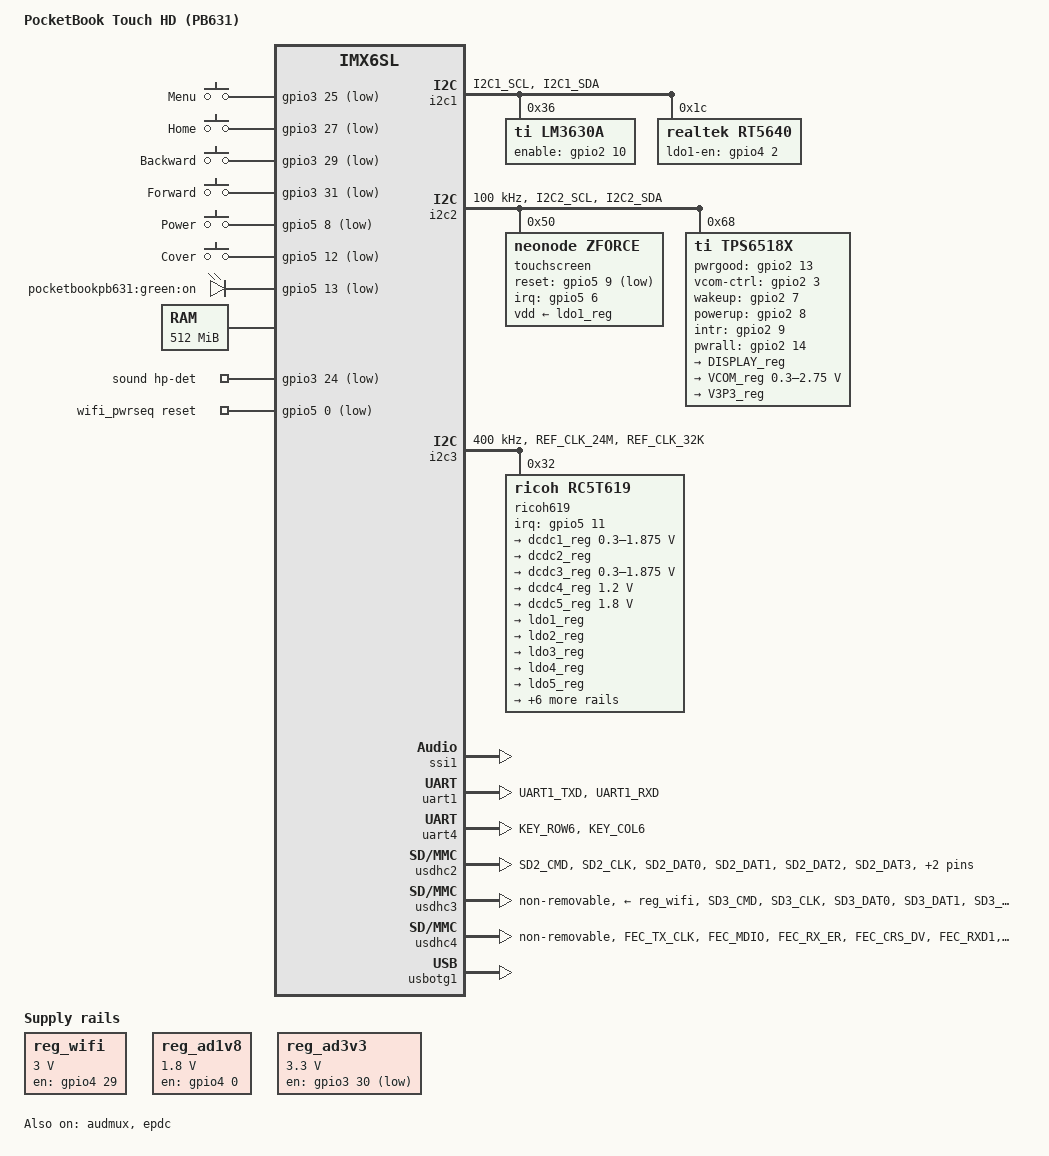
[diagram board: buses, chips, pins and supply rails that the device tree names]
// SPDX-License-Identifier: GPL-2.0
/*
 * Device tree for the Pocketbook Touch HD ebook reader
 *
 * Name on mainboard is: 37NB-E60QK0+4A2
 * Serials start with: 60QK2
 *
 */

/dts-v1/;

#include <dt-bindings/leds/common.h>
#include <dt-bindings/input/input.h>
#include <dt-bindings/gpio/gpio.h>
#include "imx6sl.dtsi"

/ {
	model = "PocketBook Touch HD (PB631)";
	compatible = "pocketbook,pb631", "fsl,imx6sl";

	aliases {
		mmc0 = &usdhc4;
		mmc1 = &usdhc2;
	};

	chosen {
		stdout-path = &uart1;
	};

	reserved-memory {
		#address-cells = <1>;
		#size-cells = <1>;
		ramoops@90000000 {
			compatible = "ramoops";
			reg = <0x90000000 0x00100000>;
			record-size = <0x1000>;
			console-size = <0x80000>;
			ftrace-size = <0x1000>;
			pmsg-size = <0x8000>;
		};
	};

	gpio_keys: gpio-keys {
		compatible = "gpio-keys";
		pinctrl-names = "default";
		pinctrl-0 = <&pinctrl_gpio_keys>;

		key-menu {
			label = "Menu";
			gpios = <&gpio3 25 GPIO_ACTIVE_LOW>;
			linux,code = <KEY_MENU>;
			wakeup-source;
		};

		key-home {
			label = "Home";
			gpios = <&gpio3 27 GPIO_ACTIVE_LOW>;
			linux,code = <KEY_HOME>;
			wakeup-source;
		};

		key-backward {
			label = "Backward";
			gpios = <&gpio3 29 GPIO_ACTIVE_LOW>;
			linux,code = <KEY_PAGEUP>;
			wakeup-source;
		};

		key-forward {
			label = "Forward";
			gpios = <&gpio3 31 GPIO_ACTIVE_LOW>;
			linux,code = <KEY_PAGEDOWN>;
			wakeup-source;
		};

		key-power {
			label = "Power";
			gpios = <&gpio5 8 GPIO_ACTIVE_LOW>;
			linux,code = <KEY_POWER>;
			wakeup-source;
		};

		key-cover {
			label = "Cover";
			gpios = <&gpio5 12 GPIO_ACTIVE_LOW>;
			linux,code = <SW_LID>;
			linux,input-type = <EV_SW>;
			wakeup-source;
		};
	};

	leds: leds {
		compatible = "gpio-leds";
		pinctrl-names = "default";
		pinctrl-0 = <&pinctrl_leds>;

		on {
			label = "pocketbookpb631:green:on";
			gpios = <&gpio5 13 GPIO_ACTIVE_LOW>;
			linux,default-trigger = "timer";
		};
	};

	memory@80000000 {
		device_type = "memory";
		reg = <0x80000000 0x20000000>;
	};

	reg_wifi: regulator-wifi {
		compatible = "regulator-fixed";
		pinctrl-names = "default";
		pinctrl-0 = <&pinctrl_wifi_power>;
		regulator-name = "SD3_SPWR";
		regulator-min-microvolt = <3000000>;
		regulator-max-microvolt = <3000000>;
		enable-active-high;
		gpio = <&gpio4 29 GPIO_ACTIVE_HIGH>;
	};
/*
	reg_adldo: regulator-adldo {
		compatible = "regulator-fixed";
		pinctrl-names = "default";
		pinctrl-0 = <&pinctrl_codecldo_power>;
		regulator-name = "AD_LDO_ON";
		regulator-min-microvolt = <1800000>;
		regulator-max-microvolt = <1800000>;
		regulator-always-on;
		regulator-boot-on;
		gpio = <&gpio4 2 GPIO_ACTIVE_HIGH>;
	};
*/
	reg_ad1v8: regulator-ad1v8 {
		compatible = "regulator-fixed";
		pinctrl-names = "default";
		pinctrl-0 = <&pinctrl_codec1v8_power>;
		regulator-name = "AD_1V8_ON";
		regulator-min-microvolt = <1800000>;
		regulator-max-microvolt = <1800000>;
		regulator-always-on;
		regulator-boot-on;
		enable-active-high;
		gpio = <&gpio4 0 GPIO_ACTIVE_HIGH>;
	};

	reg_ad3v3: regulator-ad3v3 {
		compatible = "regulator-fixed";
		pinctrl-names = "default";
		pinctrl-0 = <&pinctrl_codec3v3_power>;
		regulator-name = "AD_3V3_ON";
		regulator-min-microvolt = <3300000>;
		regulator-max-microvolt = <3300000>;
		regulator-always-on;
		regulator-boot-on;
		gpio = <&gpio3 30 GPIO_ACTIVE_LOW>;
	};

	sound {
		compatible = "fsl,imx-audio-rt5640";
		pinctrl-names = "default";
		pinctrl-0 = <&pinctrl_hp>;
		model = "imx-rt5640";
		ssi-controller = <&ssi1>; //ssi2?
		audio-codec = <&rt5640>;
		audio-routing =
			/* board Headphone Jack */
			"Headphone Jack", "HPOR",
			"Headphone Jack", "HPOL";
		mux-int-port = <2>;
		mux-ext-port = <3>;
		hp-det-gpios = <&gpio3 24 GPIO_ACTIVE_LOW>;
	};

	thermal-zones {
		epd-thermal {
			polling-delay = <10000>;
			polling-delay-passive = <10000>;
			thermal-sensors = <&tps6518x>;

			trips {
			};
		};
	};

	wifi_pwrseq: wifi_pwrseq {
		compatible = "mmc-pwrseq-simple";
		pinctrl-names = "default";
		pinctrl-0 = <&pinctrl_wifi_reset>;
		post-power-on-delay-ms = <20>;
		reset-gpios = <&gpio5 0 GPIO_ACTIVE_LOW>;
	};
};

&audmux {
	pinctrl-names = "default";
	pinctrl-0 = <&pinctrl_audmux3>;
	status = "okay";
};

&gpu_2d {
	status = "disabled";
};

&gpu_vg {
	status = "disabled";
};

&epdc {
	pinctrl-names = "default";
	pinctrl-0 = <&pinctrl_epdc0>;
	safe-ticks-turnoff-ep3v3=<800>;
	V3P3-supply = <&V3P3_reg>;
	VCOM-supply = <&VCOM_reg>;
	DISPLAY-supply = <&DISPLAY_reg>;
	epd-thermal-zone = "epd-thermal";

	vscan-holdoff = <4>;
	sdoed-width = <10>;
	sdoed-delay = <20>;
	sdoez-width = <10>;
	sdoez-delay = <20>;
	gdclk-hp-offs = <562>;
	gdsp-offs = <662>;
	gdoe-offs = <0>;
	gdclk-offs = <225>;
	num-ce = <1>;

	status = "okay";

	timing {
		clock-frequency = <80000000>;
		hactive = <1448>;
		hback-porch = <16>;
		hfront-porch = <102>;
		hsync-len = <28>;
		vactive = <1072>;
		vback-porch = <4>;
		vfront-porch = <4>;
		vsync-len = <2>;
	};
};

&i2c1 {
	pinctrl-names = "default","sleep";
	pinctrl-0 = <&pinctrl_i2c1>;
	pinctrl-1 = <&pinctrl_i2c1_sleep>;
	i2c-scl-rising-time-ns = <300>;
	i2c-scl-falling-time-ns = <15>;
	status = "okay";

	lm3630a: backlight@36 {
		reg = <0x36>;
		compatible = "ti,lm3630a";
		enable-gpios = <&gpio2 10 GPIO_ACTIVE_HIGH>;
		pinctrl-names = "default";
		pinctrl-0 = <&pinctrl_backlight_power>;

		#address-cells = <1>;
		#size-cells = <0>;
		status = "okay";
		led@0 {
			reg = <0>;
			led-sources = <0>;
			label = "backlight";
			default-brightness = <127>;
			max-brightness = <255>;
		};
	};

	rt5640: rt5640@1c {
		compatible = "realtek,rt5640";
		reg = <0x1c>;
		/*interrupt-parent = <&gpio3>;
		interrupts = <24 IRQ_TYPE_LEVEL_LOW>;*/
		realtek,ldo1-en-gpios =
			<&gpio4 2 GPIO_ACTIVE_HIGH>;
		/*realtek,jack-detect-source = <1>;*/
		clocks = <&clks IMX6SL_CLK_EXTERN_AUDIO>;
	};
};

&i2c2 {
	pinctrl-names = "default","sleep";
	pinctrl-0 = <&pinctrl_i2c2>;
	pinctrl-1 = <&pinctrl_i2c2_sleep>;
	clock-frequency = <100000>;
	status = "okay";

	touchscreen@50 {
		compatible = "neonode,zforce";
		reg = <0x50>;
		pinctrl-names = "default";
		pinctrl-0 = <&pinctrl_ts>;
		reset-gpios = <&gpio5 9 GPIO_ACTIVE_LOW>;
		interrupts-extended = <&gpio5 6 IRQ_TYPE_LEVEL_LOW>;
		vdd-supply = <&ldo1_reg>;
		touchscreen-min-x = <0>;
		touchscreen-size-x = <1072>;
		touchscreen-min-y = <0>;
		touchscreen-size-y = <1448>;
		touchscreen-swapped-x-y;
		touchscreen-inverted-x;
		status = "okay";
	};

	tps6518x: epdc-pmic@68 {
		compatible = "ti,tps6518x";
		reg = <0x68>;
		/*
		 * power sequencing for TPS65180/65181
		 */
		pwr_seq0 = <0xe1>; /* [Vddh-seq=3 | Vpos-seq=2 | Vee-seq=0 | Vneg-seq=1] */
		pwr_seq1 = <0x30>; /* [Vneg-dly1=3 |Vee-dly0=0]  mSec */
		pwr_seq2 = <0x33>; /* [Vddh-dly3=3 | Vpos-dly2=3] mSec */

                /*
                 * power sequencing for TPS65185/65186
                 */
                upseq0 = <0xe1>;
                upseq1 = <0x00>;
                dwnseq0 = <0x1e>;
                dwnseq1 = <0xe0>;

		pwrgood-gpios = <&gpio2 13 0>;
		vcom-ctrl-gpios = <&gpio2 3 GPIO_ACTIVE_HIGH>;
		wakeup-gpios = <&gpio2 7 0>;
		powerup-gpios = <&gpio2 8 GPIO_ACTIVE_HIGH>;
		intr-gpios = <&gpio2 9 0>;

		/* gpio_pmic_v3p3 = <&gpio2 14 GPIO_ACTIVE_HIGH>; */
		pwrall-gpios = <&gpio2 14 GPIO_ACTIVE_HIGH>;

		#thermal-sensor-cells = <0>;

		pinctrl-names = "default", "sleep";
		pinctrl-0 = <&pinctrl_tps65185_gpio>;
		pinctrl-1 = <&pinctrl_tps65185_gpio_sleep>;

		regulators {
			DISPLAY_reg: DISPLAY {
				regulator-name = "DISPLAY";
			};

			VCOM_reg: VCOM {
				regulator-name = "VCOM";
				regulator-max-microvolt = <2750000>;
				regulator-min-microvolt = <300000>;
			};

			V3P3_reg: V3P3 {
				regulator-name = "V3P3";
			};

		};
	};
};

&i2c3 {
	pinctrl-names = "default";
	pinctrl-0 = <&pinctrl_i2c3>;
	clock-frequency = <400000>;
	status = "okay";

	ricoh619: pmic@32 {
		compatible = "ricoh,rc5t619";
		pinctrl-names = "default";
		pinctrl-0 = <&pinctrl_ricoh_gpio>;
		reg = <0x32>;
		interrupt-parent = <&gpio5>;
		interrupts = <11 IRQ_TYPE_LEVEL_LOW>;
		system-power-controller;

		regulators {
			dcdc1_reg: DCDC1 {
				regulator-name = "DCDC1";
				regulator-min-microvolt = <300000>;
				regulator-max-microvolt = <1875000>;
				regulator-always-on;
				regulator-boot-on;

				regulator-state-mem {
					regulator-on-in-suspend;
					regulator-suspend-max-microvolt = <900000>;
					regulator-suspend-min-microvolt = <900000>;
				};
			};

			/* Core3_3V3 */
			dcdc2_reg: DCDC2 {
				regulator-name = "DCDC2";
				regulator-always-on;
				regulator-boot-on;

				regulator-state-mem {
					regulator-on-in-suspend;
					regulator-suspend-max-microvolt = <3300000>;
					regulator-suspend-min-microvolt = <3300000>;
				};
			};

			dcdc3_reg: DCDC3 {
				regulator-name = "DCDC3";
				regulator-min-microvolt = <300000>;
				regulator-max-microvolt = <1875000>;
				regulator-always-on;
				regulator-boot-on;

				regulator-state-mem {
					regulator-on-in-suspend;
					regulator-suspend-max-microvolt = <1140000>;
					regulator-suspend-min-microvolt = <1140000>;
				};
			};

			/* Core4_1V2 */
			dcdc4_reg: DCDC4 {
				regulator-name = "DCDC4";
				regulator-min-microvolt = <1200000>;
				regulator-max-microvolt = <1200000>;
				regulator-always-on;
				regulator-boot-on;

				regulator-state-mem {
					regulator-on-in-suspend;
					regulator-suspend-max-microvolt = <1140000>;
					regulator-suspend-min-microvolt = <1140000>;
				};
			};

			/* Core4_1V8 */
			dcdc5_reg: DCDC5 {
				regulator-name = "DCDC5";
				regulator-min-microvolt = <1800000>;
				regulator-max-microvolt = <1800000>;
				regulator-always-on;
				regulator-boot-on;

				regulator-state-mem {
					regulator-on-in-suspend;
					regulator-suspend-max-microvolt = <1700000>;
					regulator-suspend-min-microvolt = <1700000>;
				};
			};

			/* IR_3V3 */
			ldo1_reg: LDO1  {
				regulator-name = "LDO1";
				regulator-always-on;
				regulator-boot-on;
			};

			/* Core1_3V3 */
			ldo2_reg: LDO2  {
				regulator-name = "LDO2";
				regulator-always-on;
				regulator-boot-on;

				regulator-state-mem {
					regulator-on-in-suspend;
					regulator-suspend-max-microvolt = <3300000>;
					regulator-suspend-min-microvolt = <3300000>;
				};
			};

			/* Core5_1V2 */
			ldo3_reg: LDO3  {
				regulator-name = "LDO3";
				regulator-always-on;
				regulator-boot-on;
			};

			ldo4_reg: LDO4 {
				regulator-name = "LDO4";
				regulator-boot-on;
			};

			/* SPD_3V3 */
			ldo5_reg: LDO5 {
				regulator-name = "LDO5";
				regulator-always-on;
				regulator-boot-on;
			};

			/* DDR_0V6 */
			ldo6_reg: LDO6 {
				regulator-name = "LDO6";
				regulator-always-on;
				regulator-boot-on;
			};

			/* VDD_PWM */
			ldo7_reg: LDO7 {
				regulator-name = "LDO7";
				regulator-always-on;
				regulator-boot-on;
			};

			/* ldo_1v8 */
			ldo8_reg: LDO8 {
				regulator-name = "LDO8";
				regulator-min-microvolt = <1800000>;
				regulator-max-microvolt = <1800000>;
			};

			ldo9_reg: LDO9 {
				regulator-name = "LDO9";
				regulator-boot-on;
			};

			ldo10_reg: LDO10 {
				regulator-name = "LDO10";
				regulator-boot-on;
			};

			ldortc1_reg: LDORTC1  {
				regulator-name = "LDORTC1";
				regulator-always-on;
				regulator-boot-on;
			};
		};
	};
};

&reg_vdd1p1 {
	vin-supply = <&dcdc2_reg>;
};

&reg_vdd2p5 {
	vin-supply = <&dcdc2_reg>;
};

&reg_arm {
	vin-supply = <&dcdc3_reg>;
};

&reg_soc {
	vin-supply = <&dcdc1_reg>;
};

&reg_pu {
	vin-supply = <&dcdc1_reg>;
};

&ssi1 {
	status = "okay";
};

&snvs_rtc {
	/*
	 * We are using the RTC in the PMIC, but this one is not disabled
	 * in imx6sl.dtsi.
	 */
	status = "disabled";
};

&uart1 {
	/* J4 */
	pinctrl-names = "default";
	pinctrl-0 = <&pinctrl_uart1>;
	status = "okay";
};

&uart4 {
	/* J9 */
	pinctrl-names = "default";
	pinctrl-0 = <&pinctrl_uart4>;
	status = "okay";
};

&usdhc2 {
	pinctrl-names = "default", "state_100mhz", "state_200mhz", "sleep";
	pinctrl-0 = <&pinctrl_usdhc2>;
	pinctrl-1 = <&pinctrl_usdhc2_100mhz>;
	pinctrl-2 = <&pinctrl_usdhc2_200mhz>;
	pinctrl-3 = <&pinctrl_usdhc2_sleep>;
	status = "okay";

	cd-gpios = <&gpio5 2 GPIO_ACTIVE_LOW>;

	/* external uSD card */
};

&usdhc3 {
	pinctrl-names = "default", "state_100mhz", "state_200mhz", "sleep";
	pinctrl-0 = <&pinctrl_usdhc3>;
	pinctrl-1 = <&pinctrl_usdhc3_100mhz>;
	pinctrl-2 = <&pinctrl_usdhc3_200mhz>;
	pinctrl-3 = <&pinctrl_usdhc3_sleep>;
	vmmc-supply = <&reg_wifi>;
	mmc-pwrseq = <&wifi_pwrseq>;
	cap-power-off-card;
	non-removable;
	status = "okay";

	/* Realtek RTL8189FTV SDIO WiFi */
};

&usdhc4 {
	pinctrl-names = "default", "state_100mhz", "state_200mhz", "sleep";
	pinctrl-0 = <&pinctrl_usdhc4>;
	pinctrl-1 = <&pinctrl_usdhc4_100mhz>;
	pinctrl-2 = <&pinctrl_usdhc4_200mhz>;
	pinctrl-3 = <&pinctrl_usdhc4_sleep>;
	status = "okay";
	non-removable;

	/* internal uSD card */
};

&usbotg1 {
	pinctrl-names = "default";
	disable-over-current;
	srp-disable;
	hnp-disable;
	adp-disable;
	status = "okay";
};

&iomuxc {
	pinctrl_audmux3: audmux3grp {
		fsl,pins = <
			MX6SL_PAD_AUD_MCLK__AUDIO_CLK_OUT 0x4130b0
			MX6SL_PAD_AUD_RXD__AUD3_RXD	  0x4130b0
			MX6SL_PAD_AUD_TXC__AUD3_TXC	  0x4130b0
			MX6SL_PAD_AUD_TXD__AUD3_TXD	  0x4110b0
			MX6SL_PAD_AUD_TXFS__AUD3_TXFS	  0x4130b0
		>;
	};

	pinctrl_backlight_power: backlight-powergrp {
		fsl,pins = <
			MX6SL_PAD_EPDC_PWRCTRL3__GPIO2_IO10 0x110B0
		>;
	};
/*
	pinctrl_codecldo_power: codec-powergrp {
		fsl,pins = <
			MX6SL_PAD_KEY_COL5__GPIO4_IO02 0x110B0
		>;
	};
*/
	pinctrl_codec1v8_power: codec1v8-powergrp {
		fsl,pins = <
			MX6SL_PAD_KEY_COL4__GPIO4_IO00 0x110B0
		>;
	};

	pinctrl_codec3v3_power: codec3v3-powergrp {
		fsl,pins = <
			MX6SL_PAD_KEY_COL3__GPIO3_IO30 0x110B0
		>;
	};

	pinctrl_epdc0: epdcgrp0 {
		fsl,pins = <
			MX6SL_PAD_EPDC_D0__EPDC_DATA00     0x4100b1
			MX6SL_PAD_EPDC_D1__EPDC_DATA01     0x4100b1
			MX6SL_PAD_EPDC_D2__EPDC_DATA02     0x4100b1
			MX6SL_PAD_EPDC_D3__EPDC_DATA03     0x4100b1
			MX6SL_PAD_EPDC_D4__EPDC_DATA04     0x4100b1
			MX6SL_PAD_EPDC_D5__EPDC_DATA05     0x4100b1
			MX6SL_PAD_EPDC_D6__EPDC_DATA06     0x4100b1
			MX6SL_PAD_EPDC_D7__EPDC_DATA07     0x4100b1
			MX6SL_PAD_EPDC_D8__EPDC_DATA08     0x4100b1
			MX6SL_PAD_EPDC_D9__EPDC_DATA09     0x4100b1
			MX6SL_PAD_EPDC_D10__EPDC_DATA10     0x4100b1
			MX6SL_PAD_EPDC_D11__EPDC_DATA11     0x4100b1
			MX6SL_PAD_EPDC_D12__EPDC_DATA12     0x4100b1
			MX6SL_PAD_EPDC_D13__EPDC_DATA13     0x4100b1
			MX6SL_PAD_EPDC_D14__EPDC_DATA14     0x4100b1
			MX6SL_PAD_EPDC_D15__EPDC_DATA15     0x4100b1
			MX6SL_PAD_EPDC_SDCLK__EPDC_SDCLK_P     0x4100b1
			MX6SL_PAD_EPDC_SDLE__EPDC_SDLE  0x4100b1
			MX6SL_PAD_EPDC_SDOE__EPDC_SDOE  0x4100b1
			MX6SL_PAD_EPDC_SDSHR__EPDC_SDSHR       0x4100b1
			MX6SL_PAD_EPDC_SDCE0__EPDC_SDCE0       0x4100b1
			MX6SL_PAD_EPDC_GDCLK__EPDC_GDCLK       0x4100b1
			MX6SL_PAD_EPDC_GDOE__EPDC_GDOE  0x4100b1
			MX6SL_PAD_EPDC_GDRL__EPDC_GDRL  0x4100b1
			MX6SL_PAD_EPDC_GDSP__EPDC_GDSP  0x4100b1
	       >;
	};

	pinctrl_gpio_keys: gpio-keysgrp {
		fsl,pins = <
			MX6SL_PAD_SD1_DAT1__GPIO5_IO08  0x110B0
			MX6SL_PAD_SD1_DAT4__GPIO5_IO12  0x110B0
			MX6SL_PAD_KEY_ROW0__GPIO3_IO25  0x11030
			MX6SL_PAD_KEY_ROW1__GPIO3_IO27	0x11030
			MX6SL_PAD_KEY_ROW2__GPIO3_IO29	0x11030
			MX6SL_PAD_KEY_ROW3__GPIO3_IO31	0x11030
		>;
	};

	pinctrl_hp: hpgrp {
		fsl,pins = <
			MX6SL_PAD_KEY_COL0__GPIO3_IO24	  0x1b0b0
		>;
	};

	pinctrl_i2c1: i2c1grp {
		fsl,pins = <
			MX6SL_PAD_I2C1_SCL__I2C1_SCL	 0x4001f8b1
			MX6SL_PAD_I2C1_SDA__I2C1_SDA	 0x4001f8b1
		>;
	};

	pinctrl_i2c1_sleep: i2c1-sleepgrp {
		fsl,pins = <
			MX6SL_PAD_I2C1_SCL__I2C1_SCL	 0x400108b1
			MX6SL_PAD_I2C1_SDA__I2C1_SDA	 0x400108b1
		>;
	};

	pinctrl_i2c2: i2c2grp {
		fsl,pins = <
			MX6SL_PAD_I2C2_SCL__I2C2_SCL	 0x4001f8b1
			MX6SL_PAD_I2C2_SDA__I2C2_SDA	 0x4001f8b1
		>;
	};

	pinctrl_i2c2_sleep: i2c2-sleepgrp {
		fsl,pins = <
			MX6SL_PAD_I2C2_SCL__I2C2_SCL	 0x400108b1
			MX6SL_PAD_I2C2_SDA__I2C2_SDA	 0x400108b1
		>;
	};

	pinctrl_i2c3: i2c3grp {
		fsl,pins = <
			MX6SL_PAD_REF_CLK_24M__I2C3_SCL  0x4001f8b1
			MX6SL_PAD_REF_CLK_32K__I2C3_SDA  0x4001f8b1
		>;
	};

	pinctrl_leds: ledsgrp {
		fsl,pins = <
			MX6SL_PAD_SD1_DAT2__GPIO5_IO13	0x17059
		>;
	};

	pinctrl_tps65185_gpio: tps65185-gpio-grp {
		fsl,pins = <
			MX6SL_PAD_EPDC_PWRWAKEUP__GPIO2_IO14        0x40010059 /* EP_PWRALL */
			MX6SL_PAD_EPDC_VCOM0__GPIO2_IO03            0x40010059 /* VCOM_CTRL0 */
			MX6SL_PAD_EPDC_PWRCTRL0__GPIO2_IO07            0x40010059 /* EP_PWRCTRL0 WAKEUP */
			MX6SL_PAD_EPDC_PWRCTRL1__GPIO2_IO08            0x40010059 /* EP_PWRCTRL1 PWRUP */
			MX6SL_PAD_EPDC_PWRCTRL2__GPIO2_IO09      0x17059 /* EP_PWRCTRL2 EP_INT */
			MX6SL_PAD_EPDC_PWRSTAT__GPIO2_IO13        0x17059 /* EP_PWRSTAT */
		>;
	};

	pinctrl_tps65185_gpio_sleep: tps65185-gpio-sleep-grp {
		fsl,pins = <
			MX6SL_PAD_EPDC_PWRWAKEUP__GPIO2_IO14        0x10059 /* EP_PWRALL */
			MX6SL_PAD_EPDC_VCOM0__GPIO2_IO03                      0x10059 /* VCOM_CTRL0 */
			MX6SL_PAD_EPDC_PWRCTRL0__GPIO2_IO07      0x10059 /* EP_PWRCTRL0 WAKEUP */
			MX6SL_PAD_EPDC_PWRCTRL1__GPIO2_IO08      0x10059 /* EP_PWRCTRL1 PWRUP */
			MX6SL_PAD_EPDC_PWRCTRL2__GPIO2_IO09      0x13059 /* EP_PWRCTRL2 EP_INT */
			MX6SL_PAD_EPDC_PWRSTAT__GPIO2_IO13        0x13059 /* EP_PWRSTAT */
		>;
	};

	pinctrl_ts: tsgrp {
		fsl,pins = <
			MX6SL_PAD_SD1_DAT3__GPIO5_IO06	0x1B0B1
			MX6SL_PAD_SD1_DAT5__GPIO5_IO09	0x110B0
		>;
	};

	pinctrl_ricoh_gpio: ricoh_gpiogrp {
		fsl,pins = <
			MX6SL_PAD_SD1_CLK__GPIO5_IO15	0x1b8b1 /* ricoh619 chg */
			MX6SL_PAD_SD1_DAT0__GPIO5_IO11	0x1b8b1 /* ricoh619 irq */
			MX6SL_PAD_KEY_COL2__GPIO3_IO28	0x1b8b1 /* ricoh619 bat_low_int */
		>;
	};

	pinctrl_uart1: uart1grp {
		fsl,pins = <
			MX6SL_PAD_UART1_TXD__UART1_TX_DATA 0x1b0b1
			MX6SL_PAD_UART1_RXD__UART1_RX_DATA 0x1b0b1
		>;
	};

	pinctrl_uart4: uart4grp {
		fsl,pins = <
			MX6SL_PAD_KEY_ROW6__UART4_TX_DATA 0x1b0b1
			MX6SL_PAD_KEY_COL6__UART4_RX_DATA 0x1b0b1
		>;
	};

	pinctrl_usbotg1: usbotg1grp {
		fsl,pins = <
			MX6SL_PAD_EPDC_PWRCOM__USB_OTG1_ID 0x17059
		>;
	};

	pinctrl_usdhc2: usdhc2grp {
		fsl,pins = <
			MX6SL_PAD_SD2_CMD__SD2_CMD		0x17059
			MX6SL_PAD_SD2_CLK__SD2_CLK		0x13059
			MX6SL_PAD_SD2_DAT0__SD2_DATA0		0x17059
			MX6SL_PAD_SD2_DAT1__SD2_DATA1		0x17059
			MX6SL_PAD_SD2_DAT2__SD2_DATA2		0x17059
			MX6SL_PAD_SD2_DAT3__SD2_DATA3		0x17059
			MX6SL_PAD_SD2_DAT4__GPIO5_IO02		0x1b0b1
		>;
	};

	pinctrl_usdhc2_100mhz: usdhc2-100mhzgrp {
		fsl,pins = <
			MX6SL_PAD_SD2_CMD__SD2_CMD		0x170b9
			MX6SL_PAD_SD2_CLK__SD2_CLK		0x130b9
			MX6SL_PAD_SD2_DAT0__SD2_DATA0		0x170b9
			MX6SL_PAD_SD2_DAT1__SD2_DATA1		0x170b9
			MX6SL_PAD_SD2_DAT2__SD2_DATA2		0x170b9
			MX6SL_PAD_SD2_DAT3__SD2_DATA3		0x170b9
		>;
	};

	pinctrl_usdhc2_200mhz: usdhc2-200mhzgrp {
		fsl,pins = <
			MX6SL_PAD_SD2_CMD__SD2_CMD		0x170f9
			MX6SL_PAD_SD2_CLK__SD2_CLK		0x130f9
			MX6SL_PAD_SD2_DAT0__SD2_DATA0		0x170f9
			MX6SL_PAD_SD2_DAT1__SD2_DATA1		0x170f9
			MX6SL_PAD_SD2_DAT2__SD2_DATA2		0x170f9
			MX6SL_PAD_SD2_DAT3__SD2_DATA3		0x170f9
		>;
	};

	pinctrl_usdhc2_sleep: usdhc2-sleepgrp {
		fsl,pins = <
			MX6SL_PAD_SD2_CMD__GPIO5_IO04		0x100f9
			MX6SL_PAD_SD2_CLK__GPIO5_IO05		0x100f9
			MX6SL_PAD_SD2_DAT0__GPIO5_IO01		0x100f9
			MX6SL_PAD_SD2_DAT1__GPIO4_IO30		0x100f9
			MX6SL_PAD_SD2_DAT2__GPIO5_IO03		0x100f9
			MX6SL_PAD_SD2_DAT3__GPIO4_IO28		0x100f9
		>;
	};

	pinctrl_usdhc3: usdhc3grp {
		fsl,pins = <
			MX6SL_PAD_SD3_CMD__SD3_CMD	0x11059
			MX6SL_PAD_SD3_CLK__SD3_CLK	0x11059
			MX6SL_PAD_SD3_DAT0__SD3_DATA0	0x11059
			MX6SL_PAD_SD3_DAT1__SD3_DATA1	0x11059
			MX6SL_PAD_SD3_DAT2__SD3_DATA2	0x11059
			MX6SL_PAD_SD3_DAT3__SD3_DATA3	0x11059
		>;
	};

	pinctrl_usdhc3_100mhz: usdhc3-100mhzgrp {
		fsl,pins = <
			MX6SL_PAD_SD3_CMD__SD3_CMD	0x170b9
			MX6SL_PAD_SD3_CLK__SD3_CLK	0x170b9
			MX6SL_PAD_SD3_DAT0__SD3_DATA0	0x170b9
			MX6SL_PAD_SD3_DAT1__SD3_DATA1	0x170b9
			MX6SL_PAD_SD3_DAT2__SD3_DATA2	0x170b9
			MX6SL_PAD_SD3_DAT3__SD3_DATA3	0x170b9
		>;
	};

	pinctrl_usdhc3_200mhz: usdhc3-200mhzgrp {
		fsl,pins = <
			MX6SL_PAD_SD3_CMD__SD3_CMD	0x170f9
			MX6SL_PAD_SD3_CLK__SD3_CLK	0x170f9
			MX6SL_PAD_SD3_DAT0__SD3_DATA0	0x170f9
			MX6SL_PAD_SD3_DAT1__SD3_DATA1	0x170f9
			MX6SL_PAD_SD3_DAT2__SD3_DATA2	0x170f9
			MX6SL_PAD_SD3_DAT3__SD3_DATA3	0x170f9
		>;
	};

	pinctrl_usdhc3_sleep: usdhc3-sleepgrp {
		fsl,pins = <
			MX6SL_PAD_SD3_CMD__GPIO5_IO21	0x100c1
			MX6SL_PAD_SD3_CLK__GPIO5_IO18	0x100c1
			MX6SL_PAD_SD3_DAT0__GPIO5_IO19	0x100c1
			MX6SL_PAD_SD3_DAT1__GPIO5_IO20	0x100c1
			MX6SL_PAD_SD3_DAT2__GPIO5_IO16	0x100c1
			MX6SL_PAD_SD3_DAT3__GPIO5_IO17	0x100c1
		>;
	};

	pinctrl_usdhc4: usdhc4grp {
		fsl,pins = <
			MX6SL_PAD_FEC_TX_CLK__SD4_CMD		0x17059
			MX6SL_PAD_FEC_MDIO__SD4_CLK		0x13059
			MX6SL_PAD_FEC_RX_ER__SD4_DATA0		0x17059
			MX6SL_PAD_FEC_CRS_DV__SD4_DATA1		0x17059
			MX6SL_PAD_FEC_RXD1__SD4_DATA2		0x17059
			MX6SL_PAD_FEC_TXD0__SD4_DATA3		0x17059
			MX6SL_PAD_FEC_MDC__SD4_DATA4		0x17059
			MX6SL_PAD_FEC_RXD0__SD4_DATA5		0x17059
			MX6SL_PAD_FEC_TX_EN__SD4_DATA6		0x17059
			MX6SL_PAD_FEC_TXD1__SD4_DATA7		0x17059
			MX6SL_PAD_FEC_REF_CLK__SD4_RESET	0x17068
		>;
	};

	pinctrl_usdhc4_100mhz: usdhc4-100mhzgrp {
		fsl,pins = <
			MX6SL_PAD_FEC_TX_CLK__SD4_CMD		0x170b9
			MX6SL_PAD_FEC_MDIO__SD4_CLK		0x130b9
			MX6SL_PAD_FEC_RX_ER__SD4_DATA0		0x170b9
			MX6SL_PAD_FEC_CRS_DV__SD4_DATA1		0x170b9
			MX6SL_PAD_FEC_RXD1__SD4_DATA2		0x170b9
			MX6SL_PAD_FEC_TXD0__SD4_DATA3		0x170b9
			MX6SL_PAD_FEC_MDC__SD4_DATA4		0x170b9
			MX6SL_PAD_FEC_RXD0__SD4_DATA5		0x170b9
			MX6SL_PAD_FEC_TX_EN__SD4_DATA6		0x170b9
			MX6SL_PAD_FEC_TXD1__SD4_DATA7		0x170b9
		>;
	};

	pinctrl_usdhc4_200mhz: usdhc4-200mhzgrp {
		fsl,pins = <
			MX6SL_PAD_FEC_TX_CLK__SD4_CMD		0x170f9
			MX6SL_PAD_FEC_MDIO__SD4_CLK		0x130f9
			MX6SL_PAD_FEC_RX_ER__SD4_DATA0		0x170f9
			MX6SL_PAD_FEC_CRS_DV__SD4_DATA1		0x170f9
			MX6SL_PAD_FEC_RXD1__SD4_DATA2		0x170f9
			MX6SL_PAD_FEC_TXD0__SD4_DATA3		0x170f9
			MX6SL_PAD_FEC_MDC__SD4_DATA4		0x170f9
			MX6SL_PAD_FEC_RXD0__SD4_DATA5		0x170f9
			MX6SL_PAD_FEC_TX_EN__SD4_DATA6		0x170f9
			MX6SL_PAD_FEC_TXD1__SD4_DATA7		0x170f9
		>;
	};

	pinctrl_usdhc4_sleep: usdhc4-sleepgrp {
		fsl,pins = <
			MX6SL_PAD_FEC_TX_CLK__GPIO4_IO21	0x100c1
			MX6SL_PAD_FEC_MDIO__GPIO4_IO20		0x100c1
			MX6SL_PAD_FEC_RX_ER__GPIO4_IO19		0x100c1
			MX6SL_PAD_FEC_CRS_DV__GPIO4_IO25	0x100c1
			MX6SL_PAD_FEC_RXD1__GPIO4_IO18		0x100c1
			MX6SL_PAD_FEC_TXD0__GPIO4_IO24		0x100c1
			MX6SL_PAD_FEC_MDC__GPIO4_IO23		0x100c1
			MX6SL_PAD_FEC_RXD0__GPIO4_IO17		0x100c1
			MX6SL_PAD_FEC_TX_EN__GPIO4_IO22		0x100c1
			MX6SL_PAD_FEC_TXD1__GPIO4_IO16		0x100c1
		>;
	};

	pinctrl_wifi_power: wifi-powergrp {
		fsl,pins = <
			MX6SL_PAD_SD2_DAT6__GPIO4_IO29	0x10059	/* WIFI_3V3_ON */
		>;
	};

	pinctrl_wifi_reset: wifi-resetgrp {
		fsl,pins = <
			MX6SL_PAD_SD2_DAT7__GPIO5_IO00	0x10059	/* WIFI_RST */
		>;
	};
};
